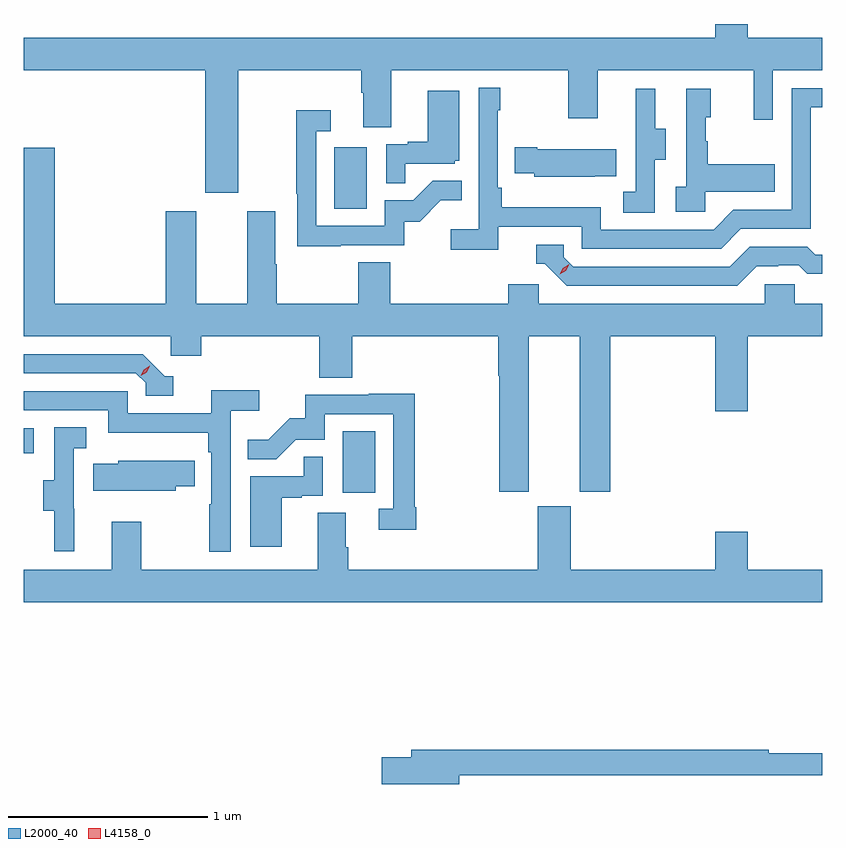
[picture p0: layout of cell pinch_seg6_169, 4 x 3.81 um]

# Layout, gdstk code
import gdstk
lib = gdstk.Library(unit=1e-6, precision=1e-09)
def R(c, l, rs):  # rectangles x0, y0, x1, y1
    for r in rs: c.add(gdstk.rectangle(r[:2], r[2:], *l))
def P(c, l, *ps):  # polygons
    for p in ps: c.add(gdstk.Polygon(p, *l))
L2000_40 = (2000, 40)
L4158_0 = (4158, 0)

pinch_seg6_169 = lib.new_cell('pinch_seg6_169')
R(pinch_seg6_169, L2000_40, [(1014.29,921.246,1014.454,921.553), (1012.693,921.443,1012.744,921.567), (1014.248,922.668,1014.412,922.975)])
P(pinch_seg6_169, L2000_40, [(1013.767,923.36),(1014.383,923.36),(1014.383,923.248),(1014.395,923.248),(1014.395,923.074),(1014.535,923.074),(1014.535,923.36),(1015.42,923.36),(1015.42,923.121),(1015.567,923.121),(1015.567,923.36),(1016.348,923.36),(1016.348,923.112),(1016.445,923.112),(1016.445,923.36),(1016.693,923.36),(1016.693,923.524),(1016.32,923.524),(1016.32,923.592),(1016.156,923.592),(1016.156,923.524),(1012.693,923.524),(1012.693,923.36),(1013.603,923.36),(1013.603,922.746),(1013.767,922.746)],
  [(1015.07,922.578),(1015.488,922.578),(1015.488,922.467),(1016.185,922.467),(1016.284,922.566),(1016.634,922.566),(1016.634,923.175),(1016.693,923.175),(1016.693,923.271),(1016.538,923.271),(1016.538,922.662),(1016.247,922.662),(1016.148,922.563),(1015.584,922.563),(1015.584,922.675),(1015.088,922.675),(1015.088,922.771),(1015.068,922.771),(1015.068,923.159),(1015.081,923.159),(1015.081,923.272),(1014.972,923.272),(1014.972,922.564),(1014.831,922.564),(1014.831,922.462),(1015.07,922.462)],
  [(1015.854,922.912),(1015.909,922.912),(1015.909,923.067),(1015.855,923.067),(1015.855,923.269),(1015.757,923.269),(1015.757,923.055),(1015.758,923.055),(1015.758,922.751),(1015.695,922.751),(1015.695,922.648),(1015.854,922.648)],
  [(1016.106,922.751),(1016.453,922.751),(1016.453,922.891),(1016.119,922.891),(1016.119,923.006),(1016.109,923.006),(1016.109,923.124),(1016.134,923.124),(1016.134,923.269),(1016.01,923.269),(1016.01,922.778),(1015.959,922.778),(1015.959,922.653),(1016.106,922.653)],
  [(1014.605,922.893),(1014.852,922.893),(1014.852,922.908),(1014.874,922.908),(1014.874,923.257),(1014.716,923.257),(1014.716,923.002),(1014.617,923.002),(1014.617,922.989),(1014.51,922.989),(1014.51,922.795),(1014.605,922.795)],
  [(1014.281,922.485),(1014.6,922.485),(1014.6,922.602),(1014.676,922.602),(1014.783,922.709),(1014.887,922.709),(1014.887,922.808),(1014.743,922.808),(1014.645,922.71),(1014.501,922.71),(1014.501,922.581),(1014.159,922.581),(1014.159,923.055),(1014.232,923.055),(1014.232,923.161),(1014.058,923.161),(1014.058,922.741),(1014.063,922.741),(1014.063,922.48),(1014.281,922.48)],
  [(1015.553,922.829),(1015.661,922.829),(1015.661,922.966),(1015.264,922.966),(1015.264,922.974),(1015.153,922.974),(1015.153,922.844),(1015.251,922.844),(1015.251,922.826),(1015.553,922.826)],
  [(1015.222,922.028),(1015.478,922.028),(1015.478,921.249),(1015.631,921.249),(1015.631,922.028),(1016.156,922.028),(1016.156,921.654),(1016.32,921.654),(1016.32,922.028),(1016.693,922.028),(1016.693,922.192),(1016.553,922.192),(1016.553,922.29),(1016.403,922.29),(1016.403,922.192),(1015.272,922.192),(1015.272,922.29),(1015.121,922.29),(1015.121,922.192),(1014.53,922.192),(1014.53,922.4),(1014.37,922.4),(1014.37,922.192),(1013.961,922.192),(1013.961,922.388),(1013.953,922.388),(1013.953,922.654),(1013.813,922.654),(1013.813,922.192),(1013.557,922.192),(1013.557,922.654),(1013.405,922.654),(1013.405,922.192),(1012.85,922.192),(1012.85,922.972),(1012.693,922.972),(1012.693,922.028),(1013.43,922.028),(1013.43,921.93),(1013.582,921.93),(1013.582,922.028),(1014.173,922.028),(1014.173,921.82),(1014.338,921.82),(1014.338,922.028),(1015.07,922.028),(1015.07,921.832),(1015.075,921.832),(1015.075,921.249),(1015.222,921.249)],
  [(1016.365,922.38),(1016.472,922.38),(1016.472,922.383),(1016.575,922.383),(1016.617,922.341),(1016.693,922.341),(1016.693,922.437),(1016.656,922.437),(1016.617,922.476),(1016.328,922.476),(1016.229,922.377),(1015.446,922.377),(1015.398,922.425),(1015.398,922.488),(1015.259,922.488),(1015.259,922.392),(1015.302,922.392),(1015.413,922.281),(1016.266,922.281)],
  [(1013.443,921.828),(1013.4,921.828),(1013.289,921.939),(1012.693,921.939),(1012.693,921.843),(1013.256,921.843),(1013.304,921.795),(1013.304,921.732),(1013.443,921.732)],
  [(1013.73,921.656),(1013.872,921.656),(1013.872,921.758),(1013.633,921.758),(1013.633,921.642),(1013.214,921.642),(1013.214,921.753),(1012.693,921.753),(1012.693,921.657),(1013.118,921.657),(1013.118,921.545),(1013.617,921.545),(1013.617,921.449),(1013.634,921.449),(1013.634,921.188),(1013.622,921.188),(1013.622,920.949),(1013.73,920.949)],
  [(1014.659,921.172),(1014.652,921.172),(1014.652,921.74),(1014.421,921.74),(1014.421,921.735),(1014.103,921.735),(1014.103,921.618),(1014.026,921.618),(1013.919,921.511),(1013.815,921.511),(1013.815,921.412),(1013.959,921.412),(1014.057,921.51),(1014.201,921.51),(1014.201,921.639),(1014.543,921.639),(1014.543,921.165),(1014.471,921.165),(1014.471,921.06),(1014.659,921.06)],
  [(1012.946,921.165),(1012.944,921.165),(1012.944,921.469),(1013.008,921.469),(1013.008,921.572),(1012.848,921.572),(1012.848,921.309),(1012.793,921.309),(1012.793,921.154),(1012.847,921.154),(1012.847,920.952),(1012.946,920.952)],
  [(1013.986,921.219),(1014.086,921.219),(1014.086,921.231),(1014.192,921.231),(1014.192,921.425),(1014.097,921.425),(1014.097,921.327),(1013.828,921.327),(1013.828,920.976),(1013.986,920.976)],
  [(1013.455,921.277),(1013.549,921.277),(1013.549,921.405),(1013.438,921.405),(1013.438,921.406),(1013.166,921.406),(1013.166,921.391),(1013.041,921.391),(1013.041,921.254),(1013.455,921.254)],
  [(1016.693,920.86),(1016.32,920.86),(1016.32,921.049),(1016.156,921.049),(1016.156,920.86),(1015.432,920.86),(1015.432,921.177),(1015.268,921.177),(1015.268,920.86),(1014.32,920.86),(1014.32,920.972),(1014.307,920.972),(1014.307,921.146),(1014.167,921.146),(1014.167,920.86),(1013.283,920.86),(1013.283,921.1),(1013.135,921.1),(1013.135,920.86),(1012.693,920.86),(1012.693,920.696),(1016.693,920.696)],
  [(1014.874,919.83),(1016.693,919.83),(1016.693,919.94),(1016.425,919.94),(1016.425,919.958),(1014.635,919.958),(1014.635,919.922),(1014.486,919.922),(1014.486,919.787),(1014.874,919.787)])
P(pinch_seg6_169, L4158_0, [(1013.28,921.83),(1013.28,921.83),(1013.296,921.862),(1013.326,921.881),(1013.326,921.881),(1013.326,921.881),(1013.31,921.849),(1013.28,921.83)],
  [(1015.377,922.338),(1015.377,922.338),(1015.393,922.37),(1015.424,922.389),(1015.424,922.389),(1015.424,922.389),(1015.408,922.357),(1015.377,922.338)])

lib.write_gds('pinch_seg6_169.gds')
